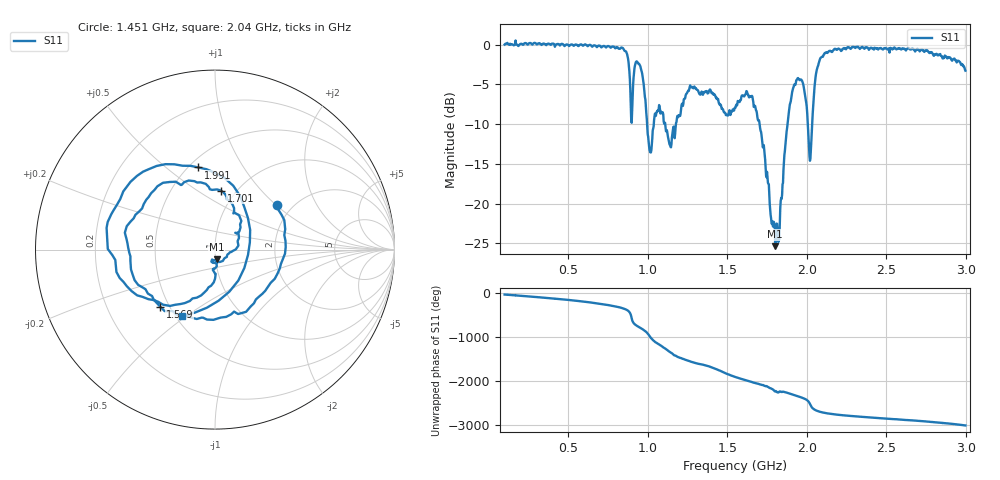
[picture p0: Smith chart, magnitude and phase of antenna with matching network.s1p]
# HZ S RI R 50
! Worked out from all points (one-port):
!   1009 points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, 100 MHz to 2.997 GHz, reference 50 ohm
!   lowest |S11| = -25.3 dB at 1.801 GHz (marker M1), VSWR 1.11, Z = 50.7 - j5.4 ohm
!   |S11| at or under -10 dB: 995.7 MHz to 1.038 GHz (42.23 MHz wide, 4.15 % of centre); 1.11 GHz to 1.177 GHz (67.28 MHz wide, 5.88 % of centre); 1.703 GHz to 1.879 GHz (175.5 MHz wide, 9.8 % of centre)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
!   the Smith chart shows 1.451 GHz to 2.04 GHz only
!   S11 on the Smith chart (normalised r, x): 1.451 GHz: 1.67, +1.02; 1.569 GHz: 0.45, -0.35; 1.701 GHz: 0.86, +0.63; 1.991 GHz: 0.56, +0.65; 2.04 GHz: 0.54, -0.48
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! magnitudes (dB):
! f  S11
! 100 MHz  0.0
! 462.1 MHz  0.1
! 824.3 MHz  -0.5
! 867.4 MHz  -1.0
! 899 MHz  -9.8
! 953.6 MHz  -2.7
! 1.014 GHz  -13.5
! 1.06 GHz  -8.3
! 1.138 GHz  -12.6
! 1.186 GHz  -9.0
! 1.278 GHz  -5.3
! 1.451 GHz  -7.4
! 1.549 GHz  -7.9
! 1.569 GHz  -7.1
! 1.646 GHz  -6.5
! 1.701 GHz  -9.6
! 1.801 GHz  -25.3
! 1.83 GHz  -22.7
! 1.873 GHz  -10.9
! 1.911 GHz  -5.7
! 1.957 GHz  -4.5
! 1.991 GHz  -6.6
! 2.02 GHz  -14.6
! 2.04 GHz  -7.7
! 2.092 GHz  -1.6
! 2.273 GHz  -0.5
! 2.635 GHz  -0.5
! 2.997 GHz  -3.3
